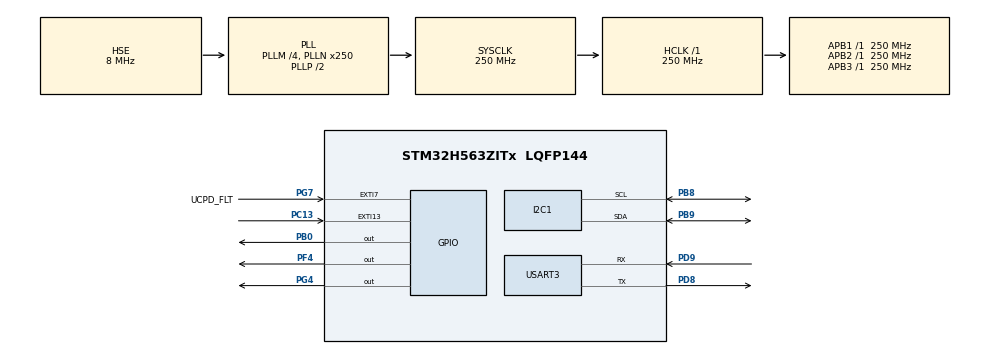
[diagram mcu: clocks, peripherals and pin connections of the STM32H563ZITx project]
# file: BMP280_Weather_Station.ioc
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BOOTPATH.BootPathName=LEGACY
BOOTPATH.UserSelectedBootPath=LEGACY
CORTEX_M33_NS.userName=CORTEX_M33
I2C1.Timing=0x60808CD3
Mcu.Family=STM32H5
Mcu.Name=STM32H563ZITx
Mcu.Package=LQFP144
NVIC.PriorityGroup=NVIC_PRIORITYGROUP_4
PA1.GPIO_Label=RMII_REF_CLK
PA1.GPIO_Mode=GPIO_MODE_AF_PP
PA1.GPIO_PuPd=GPIO_NOPULL
PA1.GPIO_Speed=GPIO_SPEED_FREQ_LOW
PA1.Signal=ETH_REF_CLK
PA11.GPIO_Label=USB_FS_N
PA11.Signal=USB_DM
PA12.GPIO_Label=USB_FS_P
PA12.Signal=USB_DP
PA13(JTMS/SWDIO).GPIO_Label=SWDIO
PA13(JTMS/SWDIO).Signal=DEBUG_JTMS-SWDIO
PA14(JTCK/SWCLK).GPIO_Label=SWCLK
PA14(JTCK/SWCLK).Signal=DEBUG_JTCK-SWCLK
PA15(JTDI).GPIO_Label=T_JTDI
PA15(JTDI).Signal=DEBUG_JTDI
PA2.GPIO_Label=RMII_MDIO
PA2.GPIO_Mode=GPIO_MODE_AF_PP
PA2.GPIO_PuPd=GPIO_NOPULL
PA2.GPIO_Speed=GPIO_SPEED_FREQ_LOW
PA2.Signal=ETH_MDIO
PA4.GPIO_Label=VBUS_SENSE
PA4.Signal=ADCx_INP18
PA7.GPIO_Label=RMII_CRS_DV
PA7.GPIO_Mode=GPIO_MODE_AF_PP
PA7.GPIO_PuPd=GPIO_NOPULL
PA7.GPIO_Speed=GPIO_SPEED_FREQ_LOW
PA7.Signal=ETH_CRS_DV
PA9.GPIO_Label=UCDP_DBn
PA9.Signal=UCPD1_DB1
PB0.Signal=GPIO_Output
PB13.GPIO_Label=UCPD_CC1
PB13.Signal=UCPD1_CC1
PB14.GPIO_Label=UCPD_CC2
PB14.Signal=UCPD1_CC2
PB15.GPIO_Label=RMII_TXD1
PB15.GPIO_Mode=GPIO_MODE_AF_PP
PB15.GPIO_PuPd=GPIO_NOPULL
PB15.GPIO_Speed=GPIO_SPEED_FREQ_LOW
PB15.Signal=ETH_TXD1
PB3(JTDO/TRACESWO).GPIO_Label=SWO
PB3(JTDO/TRACESWO).Signal=DEBUG_JTDO-SWO
PB6.GPIO_Label=ARD_D1_TX
PB6.Signal=LPUART1_TX
PB7.GPIO_Label=ARD_D0_RX
PB7.Signal=LPUART1_RX
PB8.Mode=I2C
PB8.Signal=I2C1_SCL
PB9.Mode=I2C
PB9.Signal=I2C1_SDA
PC1.GPIO_Label=RMII_MDC
PC1.GPIO_Mode=GPIO_MODE_AF_PP
PC1.GPIO_PuPd=GPIO_NOPULL
PC1.GPIO_Speed=GPIO_SPEED_FREQ_LOW
PC1.Signal=ETH_MDC
PC13.Signal=GPXTI13
PC14-OSC32_IN(OSC32_IN).Mode=LSE-External-Oscillator
PC14-OSC32_IN(OSC32_IN).Signal=RCC_OSC32_IN
PC15-OSC32_OUT(OSC32_OUT).Mode=LSE-External-Oscillator
PC15-OSC32_OUT(OSC32_OUT).Signal=RCC_OSC32_OUT
PC4.GPIO_Label=RMII_RXD0
PC4.GPIO_Mode=GPIO_MODE_AF_PP
PC4.GPIO_PuPd=GPIO_NOPULL
PC4.GPIO_Speed=GPIO_SPEED_FREQ_LOW
PC4.Signal=ETH_RXD0
PC5.GPIO_Label=RMII_RXD1
PC5.GPIO_Mode=GPIO_MODE_AF_PP
PC5.GPIO_PuPd=GPIO_NOPULL
PC5.GPIO_Speed=GPIO_SPEED_FREQ_LOW
PC5.Signal=ETH_RXD1
PD8.Mode=Asynchronous
PD8.Signal=USART3_TX
PD9.Mode=Asynchronous
PD9.Signal=USART3_RX
PE2.GPIO_Label=TRACE_CK
PE2.Signal=DEBUG_TRACECLK
PE3.GPIO_Label=TRACE_D0
PE3.Signal=DEBUG_TRACED0
PE4.GPIO_Label=TRACE_D1
PE4.Signal=DEBUG_TRACED1
PE5.GPIO_Label=TRACE_D2
PE5.Signal=DEBUG_TRACED2
PE6.GPIO_Label=TRACE_D3
PE6.Signal=DEBUG_TRACED3
PF4.Signal=GPIO_Output
PG11.GPIO_Label=RMII_TXT_EN
PG11.GPIO_Mode=GPIO_MODE_AF_PP
PG11.GPIO_PuPd=GPIO_NOPULL
PG11.GPIO_Speed=GPIO_SPEED_FREQ_LOW
PG11.Signal=ETH_TX_EN
PG13.GPIO_Label=RMI_TXD0
PG13.GPIO_Mode=GPIO_MODE_AF_PP
PG13.GPIO_PuPd=GPIO_NOPULL
PG13.GPIO_Speed=GPIO_SPEED_FREQ_LOW
PG13.Signal=ETH_TXD0
PG4.Signal=GPIO_Output
PG7.GPIO_Label=UCPD_FLT
PG7.Signal=GPXTI7
PH0-OSC_IN(PH0).GPIO_Label=STLK_MCO
PH0-OSC_IN(PH0).Mode=HSE-External-Clock-Source
PH0-OSC_IN(PH0).Signal=RCC_OSC_IN
ProjectManager.HeapSize=0x200
ProjectManager.StackSize=0x400
ProjectManager.TargetToolchain=STM32CubeIDE
RCC.ADCFreq_Value=250000000
RCC.AHBFreq_Value=250000000
RCC.APB1Freq_Value=250000000
RCC.APB1TimFreq_Value=250000000
RCC.APB2Freq_Value=250000000
RCC.APB2TimFreq_Value=250000000
RCC.APB3Freq_Value=250000000
RCC.CSI_VALUE=4000000
RCC.CortexFreq_Value=250000000
RCC.EPOD_VALUE=8000000
RCC.HCLKFreq_Value=250000000
RCC.HSE_VALUE=8000000
RCC.HSI48_VALUE=48000000
RCC.HSIDiv=RCC_HSI_DIV1
RCC.HSI_VALUE=64000000
RCC.LSIRC_VALUE=32000
RCC.PLLM=4
RCC.PLLN=250
RCC.PLLSourceVirtual=RCC_PLL1_SOURCE_HSE
RCC.SYSCLKFreq_VALUE=250000000
RCC.SYSCLKSource=RCC_SYSCLKSOURCE_PLLCLK
RCC.USBFreq_Value=48000000
RCC.VCOOutputFreq_Value=500000000
SH.ADCx_INP18.0=ADC1_INP18
USART3.VirtualMode-Asynchronous=VM_ASYNC
VP_BOOTPATH_VS_BOOTPATH.Mode=BP_Activate
VP_CORTEX_M33_NS_VS_Hclk.Mode=Hclk_Mode
VP_MEMORYMAP_VS_MEMORYMAP.Mode=CurAppReg
VP_PWR_VS_DBSignals.Mode=DisableDeadBatterySignals
VP_PWR_VS_LPOM.Mode=PowerOptimisation
VP_PWR_VS_SECSignals.Mode=Security/Privilege
board=NUCLEO-H563ZI

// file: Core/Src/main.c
/* USER CODE BEGIN Header */
/**
  ******************************************************************************
  * @file           : main.c
  * @brief          : Main program body
  ******************************************************************************
  * @attention
  *
  * Copyright (c) 2025 STMicroelectronics.
  * All rights reserved.
  *
  * This software is licensed under terms that can be found in the LICENSE file
  * in the root directory of this software component.
  * If no LICENSE file comes with this software, it is provided AS-IS.
  *
  ******************************************************************************
  */
/* USER CODE END Header */
#include "main.h"

/* USER CODE BEGIN Includes */
#include "bmp280.h"
#include <stdio.h>
#include <string.h>
#include <math.h>
/* USER CODE END Includes */

I2C_HandleTypeDef hi2c1;

UART_HandleTypeDef huart3;

/* USER CODE BEGIN PV */
BMP280_Handle bmp280;
char buffer[200];
uint32_t counter = 0;
/* USER CODE END PV */

void SystemClock_Config(void);
static void MX_GPIO_Init(void);
static void MX_I2C1_Init(void);
static void MX_USART3_UART_Init(void);

int main(void)
{

  /* MCU Configuration--------------------------------------------------------*/

  /* Reset of all peripherals, Initializes the Flash interface and the Systick. */
  HAL_Init();

  /* Configure the system clock */
  SystemClock_Config();

  /* Initialize all configured peripherals */
  MX_GPIO_Init();
  MX_I2C1_Init();
  MX_USART3_UART_Init();
  /* USER CODE BEGIN 2 */
  sprintf(buffer, "\r\nBMP280 Test Başlıyor...\r\n");
  HAL_UART_Transmit(&huart3, (uint8_t*)buffer, strlen(buffer), HAL_MAX_DELAY);

  HAL_StatusTypeDef status = BMP280_Init(&bmp280, &hi2c1, BMP280_ADDR_DEFAULT);

  if (status != HAL_OK) {
      sprintf(buffer, "0x76 adresinde BMP280 bulunamadı!\r\n");
      HAL_UART_Transmit(&huart3, (uint8_t*)buffer, strlen(buffer), HAL_MAX_DELAY);
  } else {
      uint8_t chip_id;
      BMP280_ReadID(&bmp280, &chip_id);
      sprintf(buffer, "BMP280 Bulundu! Chip ID: 0x%02X\r\n", chip_id);
      HAL_UART_Transmit(&huart3, (uint8_t*)buffer, strlen(buffer), HAL_MAX_DELAY);
  }

  // Başlık yazısı
  sprintf(buffer, "\r\n╔════════════════════════════════════╗\r\n");
  sprintf(buffer + strlen(buffer), "║   BMP280 Sensör Test Başlıyor    ║\r\n");
  sprintf(buffer + strlen(buffer), "╚════════════════════════════════════╝\r\n\r\n");
  HAL_UART_Transmit(&huart3, (uint8_t*)buffer, strlen(buffer), HAL_MAX_DELAY);

  // Sensörü başlat, sadece ata
  status = BMP280_Init(&bmp280, &hi2c1, BMP280_ADDR_DEFAULT);

  if (status != HAL_OK) {
      sprintf(buffer, "  0x76 adresinde bulunamadı, 0x77 deneniyor...\r\n");
      HAL_UART_Transmit(&huart3, (uint8_t*)buffer, strlen(buffer), HAL_MAX_DELAY);

      status = BMP280_Init(&bmp280, &hi2c1, BMP280_ADDR_ALT);
  }

  if (status == HAL_OK) {
      uint8_t chip_id;
      BMP280_ReadID(&bmp280, &chip_id);

      sprintf(buffer, " BMP280 Bulundu!\r\n");
      sprintf(buffer + strlen(buffer), "   • Chip ID: 0x%02X\r\n", chip_id);
      sprintf(buffer + strlen(buffer), "   • I2C Adresi: 0x%02X\r\n", bmp280.addr);
      sprintf(buffer + strlen(buffer), "   • Durum: Hazır\r\n\r\n");
      sprintf(buffer + strlen(buffer), "Ölçümler başlıyor...\r\n");
      sprintf(buffer + strlen(buffer), "─────────────────────────────────────\r\n\r\n");
      HAL_UART_Transmit(&huart3, (uint8_t*)buffer, strlen(buffer), HAL_MAX_DELAY);
  } else {
      sprintf(buffer, "\r\n HATA: BMP280 bulunamadı!\r\n\r\n");
      sprintf(buffer + strlen(buffer), "Kontrol listesi:\r\n");
      sprintf(buffer + strlen(buffer), "  □ VCC → 3.3V (CN8 Pin 7)\r\n");
      sprintf(buffer + strlen(buffer), "  □ GND → GND (CN8 Pin 11)\r\n");
      sprintf(buffer + strlen(buffer), "  □ SCL → PB8 (CN7 Pin 2)\r\n");
      sprintf(buffer + strlen(buffer), "  □ SDA → PB9 (CN7 Pin 4)\r\n");
      sprintf(buffer + strlen(buffer), "  □ Bağlantılar sağlam mı?\r\n");
      sprintf(buffer + strlen(buffer), "  □ Sensör güç alıyor mu?\r\n\r\n");
      HAL_UART_Transmit(&huart3, (uint8_t*)buffer, strlen(buffer), HAL_MAX_DELAY);
  }

  /* USER CODE END 2 */

  /* Infinite loop */
  while (1)
  {

    /* USER CODE BEGIN 3 */
	  float temperature, pressure;

	      //printf("DEBUG: Döngü başladı\r\n");
	      HAL_Delay(1000);
	      HAL_StatusTypeDef bmp280read = BMP280_ReadAll(&bmp280, &temperature, &pressure);
	      if (bmp280read == HAL_OK) {
	    	  int32_t t = (int32_t)(temperature * 100);
	    	  int32_t p = (int32_t)(pressure * 100);
	    	  int32_t alt = (int32_t)(44330.0f * (1.0f - powf(pressure / 1013.25f, 0.1903f)));

	    	  int16_t t_frac = (t % 100);
	    	  if (t_frac < 0) t_frac = -t_frac;

	    	  int16_t p_frac = (p % 100);
	    	  if (p_frac < 0) p_frac = -p_frac;

	    	  snprintf(buffer, sizeof(buffer),
	    	           "[%04lu] %ld.%02d °C | %ld.%02d hPa | %ld m\r\n",
	    	           counter,
	    	           t / 100, t_frac,
	    	           p / 100, p_frac,
	    	           alt);

	          //sprintf(buffer, "[%04lu] ️  %.2f °C  |  ", counter, temperature);
	          //sprintf(buffer + strlen(buffer), " %.2f hPa  |  ", pressure);
	          //sprintf(buffer + strlen(buffer), "  %.0f m\r\n",
	          //        44330.0 * (1.0 - pow(pressure / 1013.25, 0.1903)));

	          HAL_UART_Transmit(&huart3, (uint8_t*)buffer, strlen(buffer), HAL_MAX_DELAY);

	          counter++;

	          if (counter % 10 == 0) {
	              sprintf(buffer, "─────────────────────────────────────\r\n");
	              HAL_UART_Transmit(&huart3, (uint8_t*)buffer, strlen(buffer), HAL_MAX_DELAY);
	          }

	      } else {
	          //printf("DEBUG: Okuma hatası\r\n");
	          sprintf(buffer, " Okuma hatası! Sensör bağlantısını kontrol edin.\r\n");
	          HAL_UART_Transmit(&huart3, (uint8_t*)buffer, strlen(buffer), HAL_MAX_DELAY);
	      }

	      HAL_Delay(1000);

  }
  /* USER CODE END 3 */
}

void SystemClock_Config(void)
{
  RCC_OscInitTypeDef RCC_OscInitStruct = {0};
  RCC_ClkInitTypeDef RCC_ClkInitStruct = {0};

  /** Configure the main internal regulator output voltage
  */
  __HAL_PWR_VOLTAGESCALING_CONFIG(PWR_REGULATOR_VOLTAGE_SCALE0);

  while(!__HAL_PWR_GET_FLAG(PWR_FLAG_VOSRDY)) {}

  /** Initializes the RCC Oscillators according to the specified parameters
  * in the RCC_OscInitTypeDef structure.
  */
  RCC_OscInitStruct.OscillatorType = RCC_OSCILLATORTYPE_HSE;
  RCC_OscInitStruct.HSEState = RCC_HSE_BYPASS;
  RCC_OscInitStruct.PLL.PLLState = RCC_PLL_ON;
  RCC_OscInitStruct.PLL.PLLSource = RCC_PLL1_SOURCE_HSE;
  RCC_OscInitStruct.PLL.PLLM = 4;
  RCC_OscInitStruct.PLL.PLLN = 250;
  RCC_OscInitStruct.PLL.PLLP = 2;
  RCC_OscInitStruct.PLL.PLLQ = 2;
  RCC_OscInitStruct.PLL.PLLR = 2;
  RCC_OscInitStruct.PLL.PLLRGE = RCC_PLL1_VCIRANGE_1;
  RCC_OscInitStruct.PLL.PLLVCOSEL = RCC_PLL1_VCORANGE_WIDE;
  RCC_OscInitStruct.PLL.PLLFRACN = 0;
  if (HAL_RCC_OscConfig(&RCC_OscInitStruct) != HAL_OK)
  {
    Error_Handler();
  }

  /** Initializes the CPU, AHB and APB buses clocks
  */
  RCC_ClkInitStruct.ClockType = RCC_CLOCKTYPE_HCLK|RCC_CLOCKTYPE_SYSCLK
                              |RCC_CLOCKTYPE_PCLK1|RCC_CLOCKTYPE_PCLK2
                              |RCC_CLOCKTYPE_PCLK3;
  RCC_ClkInitStruct.SYSCLKSource = RCC_SYSCLKSOURCE_PLLCLK;
  RCC_ClkInitStruct.AHBCLKDivider = RCC_SYSCLK_DIV1;
  RCC_ClkInitStruct.APB1CLKDivider = RCC_HCLK_DIV1;
  RCC_ClkInitStruct.APB2CLKDivider = RCC_HCLK_DIV1;
  RCC_ClkInitStruct.APB3CLKDivider = RCC_HCLK_DIV1;

  if (HAL_RCC_ClockConfig(&RCC_ClkInitStruct, FLASH_LATENCY_5) != HAL_OK)
  {
    Error_Handler();
  }

  /** Configure the programming delay
  */
  __HAL_FLASH_SET_PROGRAM_DELAY(FLASH_PROGRAMMING_DELAY_2);
}

static void MX_I2C1_Init(void)
{

  hi2c1.Instance = I2C1;
  hi2c1.Init.Timing = 0x60808CD3;
  hi2c1.Init.OwnAddress1 = 0;
  hi2c1.Init.AddressingMode = I2C_ADDRESSINGMODE_7BIT;
  hi2c1.Init.DualAddressMode = I2C_DUALADDRESS_DISABLE;
  hi2c1.Init.OwnAddress2 = 0;
  hi2c1.Init.OwnAddress2Masks = I2C_OA2_NOMASK;
  hi2c1.Init.GeneralCallMode = I2C_GENERALCALL_DISABLE;
  hi2c1.Init.NoStretchMode = I2C_NOSTRETCH_DISABLE;
  if (HAL_I2C_Init(&hi2c1) != HAL_OK)
  {
    Error_Handler();
  }

  /** Configure Analogue filter
  */
  if (HAL_I2CEx_ConfigAnalogFilter(&hi2c1, I2C_ANALOGFILTER_ENABLE) != HAL_OK)
  {
    Error_Handler();
  }

  /** Configure Digital filter
  */
  if (HAL_I2CEx_ConfigDigitalFilter(&hi2c1, 0) != HAL_OK)
  {
    Error_Handler();
  }

}

static void MX_USART3_UART_Init(void)
{

  huart3.Instance = USART3;
  huart3.Init.BaudRate = 115200;
  huart3.Init.WordLength = UART_WORDLENGTH_8B;
  huart3.Init.StopBits = UART_STOPBITS_1;
  huart3.Init.Parity = UART_PARITY_NONE;
  huart3.Init.Mode = UART_MODE_TX_RX;
  huart3.Init.HwFlowCtl = UART_HWCONTROL_NONE;
  huart3.Init.OverSampling = UART_OVERSAMPLING_16;
  huart3.Init.OneBitSampling = UART_ONE_BIT_SAMPLE_DISABLE;
  huart3.Init.ClockPrescaler = UART_PRESCALER_DIV1;
  huart3.AdvancedInit.AdvFeatureInit = UART_ADVFEATURE_NO_INIT;
  if (HAL_UART_Init(&huart3) != HAL_OK)
  {
    Error_Handler();
  }
  if (HAL_UARTEx_SetTxFifoThreshold(&huart3, UART_TXFIFO_THRESHOLD_1_8) != HAL_OK)
  {
    Error_Handler();
  }
  if (HAL_UARTEx_SetRxFifoThreshold(&huart3, UART_RXFIFO_THRESHOLD_1_8) != HAL_OK)
  {
    Error_Handler();
  }
  if (HAL_UARTEx_DisableFifoMode(&huart3) != HAL_OK)
  {
    Error_Handler();
  }

}

static void MX_GPIO_Init(void)
{
  GPIO_InitTypeDef GPIO_InitStruct = {0};

  /* GPIO Ports Clock Enable */
  __HAL_RCC_GPIOE_CLK_ENABLE();
  __HAL_RCC_GPIOC_CLK_ENABLE();
  __HAL_RCC_GPIOF_CLK_ENABLE();
  __HAL_RCC_GPIOH_CLK_ENABLE();
  __HAL_RCC_GPIOA_CLK_ENABLE();
  __HAL_RCC_GPIOB_CLK_ENABLE();
  __HAL_RCC_GPIOD_CLK_ENABLE();
  __HAL_RCC_GPIOG_CLK_ENABLE();

  /*Configure GPIO pin Output Level */
  HAL_GPIO_WritePin(GPIOF, GPIO_PIN_4, GPIO_PIN_RESET);

  /*Configure GPIO pin Output Level */
  HAL_GPIO_WritePin(GPIOB, GPIO_PIN_0, GPIO_PIN_RESET);

  /*Configure GPIO pin Output Level */
  HAL_GPIO_WritePin(GPIOG, GPIO_PIN_4, GPIO_PIN_RESET);

  /*Configure GPIO pin : PC13 */
  GPIO_InitStruct.Pin = GPIO_PIN_13;
  GPIO_InitStruct.Mode = GPIO_MODE_IT_RISING;
  GPIO_InitStruct.Pull = GPIO_NOPULL;
  HAL_GPIO_Init(GPIOC, &GPIO_InitStruct);

  /*Configure GPIO pin : PF4 */
  GPIO_InitStruct.Pin = GPIO_PIN_4;
  GPIO_InitStruct.Mode = GPIO_MODE_OUTPUT_PP;
  GPIO_InitStruct.Pull = GPIO_NOPULL;
  GPIO_InitStruct.Speed = GPIO_SPEED_FREQ_LOW;
  HAL_GPIO_Init(GPIOF, &GPIO_InitStruct);

  /*Configure GPIO pins : RMII_MDC_Pin RMII_RXD0_Pin RMII_RXD1_Pin */
  GPIO_InitStruct.Pin = RMII_MDC_Pin|RMII_RXD0_Pin|RMII_RXD1_Pin;
  GPIO_InitStruct.Mode = GPIO_MODE_AF_PP;
  GPIO_InitStruct.Pull = GPIO_NOPULL;
  GPIO_InitStruct.Speed = GPIO_SPEED_FREQ_HIGH;
  GPIO_InitStruct.Alternate = GPIO_AF11_ETH;
  HAL_GPIO_Init(GPIOC, &GPIO_InitStruct);

  /*Configure GPIO pins : RMII_REF_CLK_Pin RMII_MDIO_Pin RMII_CRS_DV_Pin */
  GPIO_InitStruct.Pin = RMII_REF_CLK_Pin|RMII_MDIO_Pin|RMII_CRS_DV_Pin;
  GPIO_InitStruct.Mode = GPIO_MODE_AF_PP;
  GPIO_InitStruct.Pull = GPIO_NOPULL;
  GPIO_InitStruct.Speed = GPIO_SPEED_FREQ_HIGH;
  GPIO_InitStruct.Alternate = GPIO_AF11_ETH;
  HAL_GPIO_Init(GPIOA, &GPIO_InitStruct);

  /*Configure GPIO pin : VBUS_SENSE_Pin */
  GPIO_InitStruct.Pin = VBUS_SENSE_Pin;
  GPIO_InitStruct.Mode = GPIO_MODE_ANALOG;
  GPIO_InitStruct.Pull = GPIO_NOPULL;
  HAL_GPIO_Init(VBUS_SENSE_GPIO_Port, &GPIO_InitStruct);

  /*Configure GPIO pin : PB0 */
  GPIO_InitStruct.Pin = GPIO_PIN_0;
  GPIO_InitStruct.Mode = GPIO_MODE_OUTPUT_PP;
  GPIO_InitStruct.Pull = GPIO_NOPULL;
  GPIO_InitStruct.Speed = GPIO_SPEED_FREQ_LOW;
  HAL_GPIO_Init(GPIOB, &GPIO_InitStruct);

  /*Configure GPIO pins : UCPD_CC1_Pin UCPD_CC2_Pin */
  GPIO_InitStruct.Pin = UCPD_CC1_Pin|UCPD_CC2_Pin;
  GPIO_InitStruct.Mode = GPIO_MODE_ANALOG;
  GPIO_InitStruct.Pull = GPIO_NOPULL;
  HAL_GPIO_Init(GPIOB, &GPIO_InitStruct);

  /*Configure GPIO pin : RMII_TXD1_Pin */
  GPIO_InitStruct.Pin = RMII_TXD1_Pin;
  GPIO_InitStruct.Mode = GPIO_MODE_AF_PP;
  GPIO_InitStruct.Pull = GPIO_NOPULL;
  GPIO_InitStruct.Speed = GPIO_SPEED_FREQ_HIGH;
  GPIO_InitStruct.Alternate = GPIO_AF11_ETH;
  HAL_GPIO_Init(RMII_TXD1_GPIO_Port, &GPIO_InitStruct);

  /*Configure GPIO pin : PG4 */
  GPIO_InitStruct.Pin = GPIO_PIN_4;
  GPIO_InitStruct.Mode = GPIO_MODE_OUTPUT_PP;
  GPIO_InitStruct.Pull = GPIO_NOPULL;
  GPIO_InitStruct.Speed = GPIO_SPEED_FREQ_LOW;
  HAL_GPIO_Init(GPIOG, &GPIO_InitStruct);

  /*Configure GPIO pin : UCPD_FLT_Pin */
  GPIO_InitStruct.Pin = UCPD_FLT_Pin;
  GPIO_InitStruct.Mode = GPIO_MODE_IT_RISING;
  GPIO_InitStruct.Pull = GPIO_NOPULL;
  HAL_GPIO_Init(UCPD_FLT_GPIO_Port, &GPIO_InitStruct);

  /*Configure GPIO pins : USB_FS_N_Pin USB_FS_P_Pin */
  GPIO_InitStruct.Pin = USB_FS_N_Pin|USB_FS_P_Pin;
  GPIO_InitStruct.Mode = GPIO_MODE_AF_PP;
  GPIO_InitStruct.Pull = GPIO_NOPULL;
  GPIO_InitStruct.Speed = GPIO_SPEED_FREQ_LOW;
  GPIO_InitStruct.Alternate = GPIO_AF10_USB;
  HAL_GPIO_Init(GPIOA, &GPIO_InitStruct);

  /*Configure GPIO pins : RMII_TXT_EN_Pin RMI_TXD0_Pin */
  GPIO_InitStruct.Pin = RMII_TXT_EN_Pin|RMI_TXD0_Pin;
  GPIO_InitStruct.Mode = GPIO_MODE_AF_PP;
  GPIO_InitStruct.Pull = GPIO_NOPULL;
  GPIO_InitStruct.Speed = GPIO_SPEED_FREQ_HIGH;
  GPIO_InitStruct.Alternate = GPIO_AF11_ETH;
  HAL_GPIO_Init(GPIOG, &GPIO_InitStruct);

  /*Configure GPIO pins : ARD_D1_TX_Pin ARD_D0_RX_Pin */
  GPIO_InitStruct.Pin = ARD_D1_TX_Pin|ARD_D0_RX_Pin;
  GPIO_InitStruct.Mode = GPIO_MODE_AF_PP;
  GPIO_InitStruct.Pull = GPIO_NOPULL;
  GPIO_InitStruct.Speed = GPIO_SPEED_FREQ_LOW;
  GPIO_InitStruct.Alternate = GPIO_AF8_LPUART1;
  HAL_GPIO_Init(GPIOB, &GPIO_InitStruct);

}

void Error_Handler(void)
{
  __disable_irq();
  while (1)
  {
  }
}
